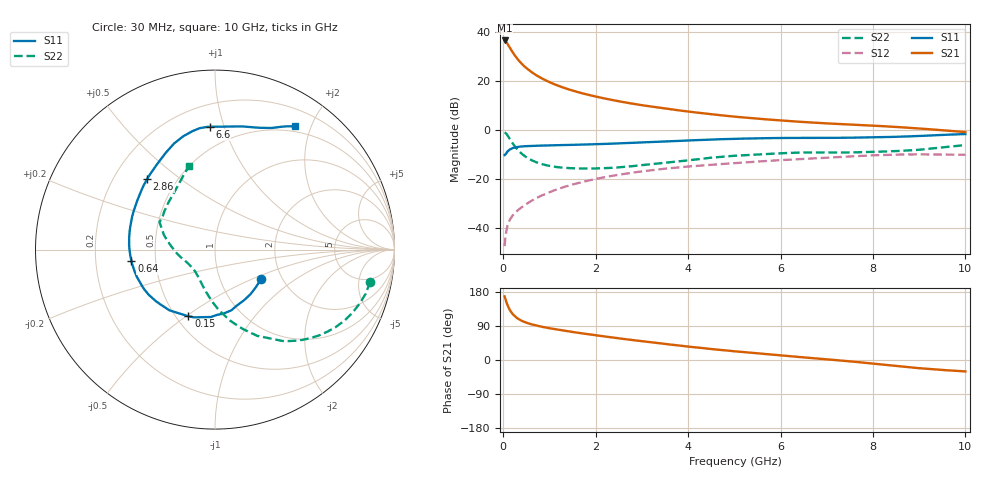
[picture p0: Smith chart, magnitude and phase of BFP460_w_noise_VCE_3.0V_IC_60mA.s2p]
! (c) 2016  Infineon Technologies AG, Munich
! Infineon Technologies  Discrete & RF Semiconductors
! BFP460
! VCE =  3.0 V,  IC =  60 mA
! Common Emitter S-Parameters:  Jan 2016
# GHz  S  MA  R  50
!  f  S11  S21  S12  S22
! GHz  MAG  ANG  MAG  ANG  MAG  ANG  MAG  ANG
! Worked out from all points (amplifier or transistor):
!   229 points, 30 MHz to 10 GHz, reference 50 ohm
!   highest |S21| = 36.5 dB at 30 MHz (marker M1)
!   |S21| within 3 dB of that: start of sweep to 144.8 MHz
!   unconditionally stable (mu >= 1): 999.4 MHz to 7.386 GHz
!   at 280 MHz: K = 0.67, MSG = 31.6 dB, |S12| = -33.5 dB
!   at 1.78 GHz: K = 1.04, MAG = 16.6 dB, |S12| = -21.0 dB
!   at 10 GHz: K = 0.96, MSG = 4.6 dB, |S12| = -10.2 dB
!   lowest NFmin = 1.86 dB at 3.5 GHz
!   S11 on the Smith chart (normalised r, x): 30 MHz: 1.56, -0.57; 150 MHz: 0.58, -0.51; 640 MHz: 0.36, -0.06; 2.86 GHz: 0.34, +0.38; 6.6 GHz: 0.35, +0.90; 10 GHz: 0.42, +1.76
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0.03  0.3047 -33.0  66.88 167.9  0.0042 85.7  0.8829 -11.7
0.05  0.3175 -51.5  64.17 159.5  0.0065 78.6  0.86 -20.5
0.07  0.3358 -69.2  61.29 152.2  0.0088 74.7  0.8228 -28.7
0.08  0.3504 -75.0  59.52 149.0  0.0098 72.1  0.7999 -32.6
0.11  0.3761 -93.4  53.74 140.0  0.0122 67.2  0.7264 -42.7
0.15  0.4001 -111.7  46.39 130.4  0.0149 63.5  0.6323 -53.6
0.2  0.423 -126.9  38.93 121.7  0.0176 61.2  0.5351 -63.9
0.26  0.4374 -139.3  32.2 114.4  0.0203 60.5  0.4482 -72.9
0.3  0.4466 -145.5  28.64 110.4  0.022 60.7  0.4029 -78.2
0.36  0.4536 -152.6  24.56 106.0  0.0246 61.3  0.3519 -84.2
0.45  0.4611 -160.8  20.08 100.7  0.0284 62.5  0.2976 -91.9
0.64  0.47 -172.2  14.52 93.3  0.0368 64.5  0.2334 -103.6
0.8  0.4756 -179.0  11.67 88.5  0.044 65.3  0.2036 -111.5
1.1  0.4833 171.2  8.578 81.6  0.0578 65.5  0.1766 -122.6
1.7  0.4987 156.5  5.604 70.4  0.0855 62.6  0.1619 -137.6
2.86  0.5448 134.0  3.344 51.6  0.1359 53.0  0.1838 -162.4
3.4  0.5702 125.4  2.804 43.9  0.1568 48.0  0.207 -172.0
5.1  0.6585 104.7  1.822 22.0  0.2118 34.3  0.2983 163.3
6.6  0.6849 92.4  1.423 5.9  0.2568 22.8  0.3451 153.2
6.8  0.6845 90.5  1.387 3.9  0.2629 21.4  0.3447 152.5
8.4  0.7156 72.0  1.16 -14.5  0.3098 6.8  0.3647 136.9
10  0.8195 57.0  0.9 -30.1  0.3097 -6.0  0.4885 107.2
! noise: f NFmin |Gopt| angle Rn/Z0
0.45  2.02  0.36  -170  0.13
0.9  2.06  0.34  -160  0.14
1.9  2.16  0.44  -139  0.17
3.5  1.86  0.7  -115  0.32
